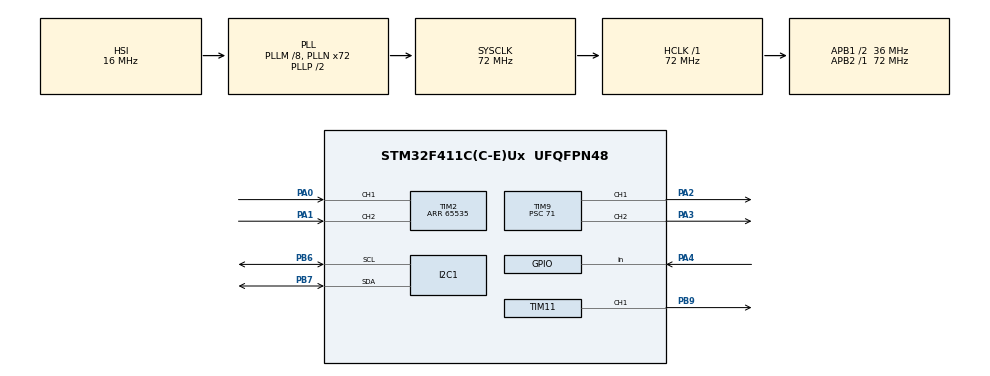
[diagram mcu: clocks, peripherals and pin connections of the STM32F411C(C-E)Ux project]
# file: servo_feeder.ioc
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I2C1.I2C_Mode=I2C_Fast
IWDG.Prescaler=IWDG_PRESCALER_32
Mcu.Family=STM32F4
Mcu.Name=STM32F411C(C-E)Ux
Mcu.Package=UFQFPN48
NVIC.PriorityGroup=NVIC_PRIORITYGROUP_4
PA0-WKUP.GPIO_PuPd=GPIO_PULLUP
PA0-WKUP.Signal=S_TIM2_CH1_ETR
PA1.GPIO_PuPd=GPIO_PULLUP
PA1.Signal=S_TIM2_CH2
PA13.Mode=Serial_Wire
PA13.Signal=SYS_JTMS-SWDIO
PA14.Mode=Serial_Wire
PA14.Signal=SYS_JTCK-SWCLK
PA2.Signal=S_TIM9_CH1
PA3.Signal=S_TIM9_CH2
PA4.Signal=GPIO_Input
PB6.Mode=I2C
PB6.Signal=I2C1_SCL
PB7.Mode=I2C
PB7.Signal=I2C1_SDA
PB9.Signal=S_TIM11_CH1
PC14-OSC32_IN.Mode=LSE-External-Oscillator
PC14-OSC32_IN.Signal=RCC_OSC32_IN
PC15-OSC32_OUT.Mode=LSE-External-Oscillator
PC15-OSC32_OUT.Signal=RCC_OSC32_OUT
PH0\ -\ OSC_IN.Mode=HSE-External-Oscillator
PH0\ -\ OSC_IN.Signal=RCC_OSC_IN
PH1\ -\ OSC_OUT.Mode=HSE-External-Oscillator
PH1\ -\ OSC_OUT.Signal=RCC_OSC_OUT
ProjectManager.HeapSize=0x200
ProjectManager.StackSize=0x400
ProjectManager.TargetToolchain=STM32CubeIDE
RCC.48MHZClocksFreq_Value=36000000
RCC.AHBFreq_Value=72000000
RCC.APB1CLKDivider=RCC_HCLK_DIV2
RCC.APB1Freq_Value=36000000
RCC.APB1TimFreq_Value=72000000
RCC.APB2Freq_Value=72000000
RCC.APB2TimFreq_Value=72000000
RCC.CortexFreq_Value=72000000
RCC.HCLKFreq_Value=72000000
RCC.HSE_VALUE=25000000
RCC.HSI_VALUE=16000000
RCC.PLLM=8
RCC.PLLN=72
RCC.RCC_RTC_Clock_Source=RCC_RTCCLKSOURCE_LSE
RCC.RCC_RTC_Clock_SourceVirtual=RCC_RTCCLKSOURCE_LSE
RCC.SYSCLKFreq_VALUE=72000000
RCC.SYSCLKSource=RCC_SYSCLKSOURCE_PLLCLK
RCC.VCOOutputFreq_Value=144000000
RTC.Date=1
SH.S_TIM11_CH1.0=TIM11_CH1,PWM Generation1 CH1
SH.S_TIM2_CH1_ETR.0=TIM2_CH1,Encoder_Interface
SH.S_TIM2_CH2.0=TIM2_CH2,Encoder_Interface
SH.S_TIM9_CH1.0=TIM9_CH1,PWM Generation1 CH1
SH.S_TIM9_CH2.0=TIM9_CH2,PWM Generation2 CH2
TIM11.Channel=TIM_CHANNEL_1
TIM11.Period=19999
TIM11.Prescaler=71
TIM2.ClockDivision=TIM_CLOCKDIVISION_DIV1
TIM2.Period=65535
TIM9.Channel-PWM\ Generation1\ CH1=TIM_CHANNEL_1
TIM9.Channel-PWM\ Generation2\ CH2=TIM_CHANNEL_2
TIM9.Period=19999
TIM9.Prescaler=71
VP_IWDG_VS_IWDG.Mode=IWDG_Activate
VP_RTC_VS_RTC_Activate.Mode=RTC_Enabled
VP_RTC_VS_RTC_Calendar.Mode=RTC_Calendar
VP_TIM11_VS_ClockSourceINT.Mode=Enable_Timer
board=custom

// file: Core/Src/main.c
/* USER CODE BEGIN Header */
/**
  ******************************************************************************
  * @file           : main.c
  * @brief          : Main program body
  ******************************************************************************
  * @attention
  *
  * Copyright (c) 2025 STMicroelectronics.
  * All rights reserved.
  *
  * This software is licensed under terms that can be found in the LICENSE file
  * in the root directory of this software component.
  * If no LICENSE file comes with this software, it is provided AS-IS.
  *
  ******************************************************************************
  */
/* USER CODE END Header */
#include "main.h"

/* USER CODE BEGIN Includes */
#include "stdio.h"
#include "ssd1306.h"
#include "ssd1306_tests.h"
#include "ssd1306_fonts.h"
#include "string.h"
/* USER CODE END Includes */

I2C_HandleTypeDef hi2c1;

IWDG_HandleTypeDef hiwdg;

RTC_HandleTypeDef hrtc;

TIM_HandleTypeDef htim2;
TIM_HandleTypeDef htim9;
TIM_HandleTypeDef htim11;

/* USER CODE BEGIN PV */
char timeData[15];
char dateData[15];
char feedTime[15];

typedef enum {
    STATE_IDLE,
    STATE_FEEDING,
    STATE_PAUSE
} feeding_state_t;

feeding_state_t feeding_state = STATE_IDLE;
uint32_t feeding_start_time = 0;
uint8_t feeding_step = 0;
uint8_t current_servo_id = 0;

uint16_t encval = 0;
int16_t enc_total = 0;
int16_t enc_last = 0;
int16_t diff;
int16_t curr_counter;
int16_t prevCounter = 0;
uint8_t hours, minutes;
uint8_t frame = 0;

/* USER CODE END PV */

void SystemClock_Config(void);
static void MX_GPIO_Init(void);
static void MX_TIM11_Init(void);
static void MX_I2C1_Init(void);
static void MX_RTC_Init(void);
static void MX_TIM2_Init(void);
static void MX_IWDG_Init(void);
static void MX_TIM9_Init(void);
/* USER CODE BEGIN PFP */
uint8_t get_current_servo_id(void);
void set_servo_angle(uint8_t servo_id, uint16_t angle);
void set_time (uint8_t hr, uint8_t min, uint8_t sec);
void set_date (uint8_t year, uint8_t month, uint8_t date, uint8_t day);
void set_alarm (uint8_t hr, uint8_t min, uint8_t sec, uint8_t date);
void get_time_date(char *time, char *date);
void HAL_RTC_AlarmAEventCallback(RTC_HandleTypeDef *hrtc);
void get_enc(char *feedTime, uint8_t hours, uint8_t minutes);
void get_hours(char *lastNum, uint8_t *currNum);
void get_minutes(char *lastNum, uint8_t *currNum);
void ssd1306_TestDrawBitmap(uint8_t frame);
void ssd1306_DrawLoading(void);
//void encoder_to_time(uint16_t encval, uint16_t hours, uint16_t minutes);
/* USER CODE END PFP */

int main(void)
{

  /* MCU Configuration--------------------------------------------------------*/

  /* Reset of all peripherals, Initializes the Flash interface and the Systick. */
  HAL_Init();

  /* Configure the system clock */
  SystemClock_Config();

  /* Initialize all configured peripherals */
  MX_GPIO_Init();
  MX_TIM11_Init();
  MX_I2C1_Init();
  MX_RTC_Init();
  MX_TIM2_Init();
  MX_IWDG_Init();
  MX_TIM9_Init();
  /* USER CODE BEGIN 2 */
  // �?нициализация дисплея
  ssd1306_Init();
  ssd1306_Fill(Black);

  // �?нициализация Ш�?М, энкодера
  HAL_TIM_PWM_Start_IT(&htim11, TIM_CHANNEL_1);
  HAL_TIM_PWM_Start_IT(&htim9, TIM_CHANNEL_1);
  HAL_TIM_PWM_Start_IT(&htim9, TIM_CHANNEL_2);

  __HAL_TIM_SET_COUNTER(&htim2, 0);
  HAL_TIM_Encoder_Start(&htim2, TIM_CHANNEL_ALL);

  // �?нициализация времени и даты
  get_time_date(timeData, dateData);

  // Настройка времени
  RTC_TimeTypeDef gTime;
  HAL_RTC_GetTime(&hrtc, &gTime, RTC_FORMAT_BIN);
  uint8_t currNum;
  char hoursT[15];
  char minutesT[15];
  uint8_t hoursTime;
  uint8_t minutesTime;

  uint32_t timeout_start = HAL_GetTick();
  ssd1306_Fill(Black);
  ssd1306_UpdateScreen();

  while (HAL_GPIO_ReadPin(GPIOA, GPIO_PIN_4) == GPIO_PIN_SET) {
	  HAL_IWDG_Refresh(&hiwdg);

	  if (HAL_GetTick() - timeout_start > 30000) {
		  hoursTime = 0;  // Автоматически выставляем 0 часов
		  break;
	  }

	  get_hours(hoursT, &currNum);

	  ssd1306_Fill(Black);
	  ssd1306_SetCursor(2, 0);
	  ssd1306_WriteString("Set hours:", Font_7x10, White);
	  ssd1306_SetCursor(2, 15);
	  ssd1306_WriteString(hoursT, Font_16x26, White);
	  ssd1306_UpdateScreen();

	  hoursTime = currNum;
	  HAL_Delay(10);
  }

  HAL_Delay(500);
  enc_total = 0;
  enc_last = __HAL_TIM_GET_COUNTER(&htim2);
  timeout_start = HAL_GetTick();

  while (HAL_GPIO_ReadPin(GPIOA, GPIO_PIN_4) == GPIO_PIN_SET) {
	  HAL_IWDG_Refresh(&hiwdg);

	  if (HAL_GetTick() - timeout_start > 30000) {
		  hoursTime = 0;  // Автоматически выставляем 0 часов
		  break;
	  }

	  get_minutes(minutesT, &currNum);

	  ssd1306_Fill(Black);
	  ssd1306_SetCursor(2, 0);
	  ssd1306_WriteString("Set minutes:", Font_7x10, White);
	  ssd1306_SetCursor(2, 15);
	  ssd1306_WriteString(minutesT, Font_16x26, White);
	  ssd1306_UpdateScreen();

	  minutesTime = currNum;
	  HAL_Delay(10);
  }
/*
  while (HAL_GPIO_ReadPin(GPIOA, GPIO_PIN_2) == GPIO_PIN_SET) {
 	  get_hours(lastNum, currNum);
 	  ssd1306_SetCursor(2, 0);
 	  ssd1306_WriteString(lastNum, Font_16x26, White);
 	  ssd1306_UpdateScreen();
   }
*/
  ssd1306_DrawLoading();

  set_time(hoursTime, minutesTime, 0);

  enc_total = 0;
  /* USER CODE END 2 */

  /* Infinite loop */
  /* USER CODE BEGIN WHILE */
  while (1)
  {
	  HAL_IWDG_Refresh(&hiwdg);

	  get_time_date(timeData, dateData);
	  get_enc(feedTime, hours, minutes);

	  if (feeding_state != STATE_PAUSE) {
		  ssd1306_Fill(Black);
		  ssd1306_SetCursor(2, 0);
		  ssd1306_WriteString("Feeding time", Font_7x10, White);
		  ssd1306_SetCursor(2, 10);
		  ssd1306_WriteString(feedTime, Font_11x18, White);
		  ssd1306_SetCursor(2, 32);
		  ssd1306_WriteString("Current time", Font_7x10, White);
		  ssd1306_SetCursor(2, 42);
		  ssd1306_WriteString(timeData, Font_11x18, White);
		  ssd1306_UpdateScreen();
		  HAL_Delay(10);
	  } else {
		  ssd1306_TestDrawBitmap(frame);
		  frame++;
		  frame = (frame > 5) ? 0 : frame;
	  }

	  switch (feeding_state) {
	          case STATE_IDLE:
	              if (!strcmp(feedTime, timeData)) {
	                  feeding_state = STATE_FEEDING;
	                  feeding_step = 0;
	                  feeding_start_time = HAL_GetTick();
	                  current_servo_id = get_current_servo_id();
	                  set_servo_angle(current_servo_id, 0);
	              }
	              break;

	          case STATE_FEEDING:
	              if (HAL_GetTick() - feeding_start_time >= 0) {
	            	  set_servo_angle(current_servo_id, 180);
	                  feeding_state = STATE_PAUSE;
	                  feeding_start_time = HAL_GetTick();
	                  feeding_step = 1;
	              }
	              break;

	          case STATE_PAUSE:

				  static const uint32_t pause_durations[] = {1000, 100, 100, 100, 100, 100, 5000};
				  static const uint16_t servo_angles[] = {165, 180, 165, 180, 165, 180, 0};

				  if (feeding_step >= 1 && feeding_step <= 7) {
					  if (HAL_GetTick() - feeding_start_time >= pause_durations[feeding_step - 1]) {
						  set_servo_angle(current_servo_id, servo_angles[feeding_step - 1]);
						  feeding_start_time = HAL_GetTick();
						  feeding_step++;

						  if (feeding_step > 7) {
							  feeding_state = STATE_IDLE;
							  set_servo_angle(current_servo_id, 0);  // Возврат в исходное положение
						  }
					  }
				  }
				  break;
	  	  }

	  	  HAL_Delay(10);  // Короткая задержка для стабильности

	  //ssd1306_TestAll();

	  /*
	  set_servo_angle(0);
	  HAL_Delay(50000);
	  set_servo_angle(180);
	  HAL_Delay(1000);
	  set_servo_angle(165);
	  HAL_Delay(100);
	  set_servo_angle(180);
	  HAL_Delay(100);
	  set_servo_angle(165);
	  HAL_Delay(100);
	  set_servo_angle(180);
	  HAL_Delay(100);
	  set_servo_angle(165);
	  HAL_Delay(100);
	  set_servo_angle(180);
	  HAL_Delay(5000);
	  */
    /* USER CODE END WHILE */

  }
}

void SystemClock_Config(void)
{
  RCC_OscInitTypeDef RCC_OscInitStruct = {0};
  RCC_ClkInitTypeDef RCC_ClkInitStruct = {0};

  /** Configure the main internal regulator output voltage
  */
  __HAL_RCC_PWR_CLK_ENABLE();
  __HAL_PWR_VOLTAGESCALING_CONFIG(PWR_REGULATOR_VOLTAGE_SCALE1);

  /** Initializes the RCC Oscillators according to the specified parameters
  * in the RCC_OscInitTypeDef structure.
  */
  RCC_OscInitStruct.OscillatorType = RCC_OSCILLATORTYPE_HSI|RCC_OSCILLATORTYPE_LSI
                              |RCC_OSCILLATORTYPE_LSE;
  RCC_OscInitStruct.LSEState = RCC_LSE_ON;
  RCC_OscInitStruct.HSIState = RCC_HSI_ON;
  RCC_OscInitStruct.HSICalibrationValue = RCC_HSICALIBRATION_DEFAULT;
  RCC_OscInitStruct.LSIState = RCC_LSI_ON;
  RCC_OscInitStruct.PLL.PLLState = RCC_PLL_ON;
  RCC_OscInitStruct.PLL.PLLSource = RCC_PLLSOURCE_HSI;
  RCC_OscInitStruct.PLL.PLLM = 8;
  RCC_OscInitStruct.PLL.PLLN = 72;
  RCC_OscInitStruct.PLL.PLLP = RCC_PLLP_DIV2;
  RCC_OscInitStruct.PLL.PLLQ = 4;
  if (HAL_RCC_OscConfig(&RCC_OscInitStruct) != HAL_OK)
  {
    Error_Handler();
  }

  /** Initializes the CPU, AHB and APB buses clocks
  */
  RCC_ClkInitStruct.ClockType = RCC_CLOCKTYPE_HCLK|RCC_CLOCKTYPE_SYSCLK
                              |RCC_CLOCKTYPE_PCLK1|RCC_CLOCKTYPE_PCLK2;
  RCC_ClkInitStruct.SYSCLKSource = RCC_SYSCLKSOURCE_PLLCLK;
  RCC_ClkInitStruct.AHBCLKDivider = RCC_SYSCLK_DIV1;
  RCC_ClkInitStruct.APB1CLKDivider = RCC_HCLK_DIV2;
  RCC_ClkInitStruct.APB2CLKDivider = RCC_HCLK_DIV1;

  if (HAL_RCC_ClockConfig(&RCC_ClkInitStruct, FLASH_LATENCY_2) != HAL_OK)
  {
    Error_Handler();
  }
}

static void MX_I2C1_Init(void)
{

  hi2c1.Instance = I2C1;
  hi2c1.Init.ClockSpeed = 400000;
  hi2c1.Init.DutyCycle = I2C_DUTYCYCLE_2;
  hi2c1.Init.OwnAddress1 = 0;
  hi2c1.Init.AddressingMode = I2C_ADDRESSINGMODE_7BIT;
  hi2c1.Init.DualAddressMode = I2C_DUALADDRESS_DISABLE;
  hi2c1.Init.OwnAddress2 = 0;
  hi2c1.Init.GeneralCallMode = I2C_GENERALCALL_DISABLE;
  hi2c1.Init.NoStretchMode = I2C_NOSTRETCH_DISABLE;
  if (HAL_I2C_Init(&hi2c1) != HAL_OK)
  {
    Error_Handler();
  }

}

static void MX_IWDG_Init(void)
{

  hiwdg.Instance = IWDG;
  hiwdg.Init.Prescaler = IWDG_PRESCALER_32;
  hiwdg.Init.Reload = 4095;
  if (HAL_IWDG_Init(&hiwdg) != HAL_OK)
  {
    Error_Handler();
  }

}

static void MX_RTC_Init(void)
{

  RTC_TimeTypeDef sTime = {0};
  RTC_DateTypeDef sDate = {0};

  /** Initialize RTC Only
  */
  hrtc.Instance = RTC;
  hrtc.Init.HourFormat = RTC_HOURFORMAT_24;
  hrtc.Init.AsynchPrediv = 127;
  hrtc.Init.SynchPrediv = 255;
  hrtc.Init.OutPut = RTC_OUTPUT_DISABLE;
  hrtc.Init.OutPutPolarity = RTC_OUTPUT_POLARITY_HIGH;
  hrtc.Init.OutPutType = RTC_OUTPUT_TYPE_OPENDRAIN;
  if (HAL_RTC_Init(&hrtc) != HAL_OK)
  {
    Error_Handler();
  }

  /** Initialize RTC and set the Time and Date
  */
  sTime.Hours = 0x0;
  sTime.Minutes = 0x0;
  sTime.Seconds = 0x0;
  sTime.DayLightSaving = RTC_DAYLIGHTSAVING_NONE;
  sTime.StoreOperation = RTC_STOREOPERATION_RESET;
  if (HAL_RTC_SetTime(&hrtc, &sTime, RTC_FORMAT_BCD) != HAL_OK)
  {
    Error_Handler();
  }
  sDate.WeekDay = RTC_WEEKDAY_MONDAY;
  sDate.Month = RTC_MONTH_JANUARY;
  sDate.Date = 0x1;
  sDate.Year = 0x0;

  if (HAL_RTC_SetDate(&hrtc, &sDate, RTC_FORMAT_BCD) != HAL_OK)
  {
    Error_Handler();
  }

}

static void MX_TIM2_Init(void)
{

  TIM_Encoder_InitTypeDef sConfig = {0};
  TIM_MasterConfigTypeDef sMasterConfig = {0};

  htim2.Instance = TIM2;
  htim2.Init.Prescaler = 0;
  htim2.Init.CounterMode = TIM_COUNTERMODE_UP;
  htim2.Init.Period = 65535;
  htim2.Init.ClockDivision = TIM_CLOCKDIVISION_DIV1;
  htim2.Init.AutoReloadPreload = TIM_AUTORELOAD_PRELOAD_DISABLE;
  sConfig.EncoderMode = TIM_ENCODERMODE_TI1;
  sConfig.IC1Polarity = TIM_ICPOLARITY_RISING;
  sConfig.IC1Selection = TIM_ICSELECTION_DIRECTTI;
  sConfig.IC1Prescaler = TIM_ICPSC_DIV1;
  sConfig.IC1Filter = 0;
  sConfig.IC2Polarity = TIM_ICPOLARITY_RISING;
  sConfig.IC2Selection = TIM_ICSELECTION_DIRECTTI;
  sConfig.IC2Prescaler = TIM_ICPSC_DIV1;
  sConfig.IC2Filter = 0;
  if (HAL_TIM_Encoder_Init(&htim2, &sConfig) != HAL_OK)
  {
    Error_Handler();
  }
  sMasterConfig.MasterOutputTrigger = TIM_TRGO_RESET;
  sMasterConfig.MasterSlaveMode = TIM_MASTERSLAVEMODE_DISABLE;
  if (HAL_TIMEx_MasterConfigSynchronization(&htim2, &sMasterConfig) != HAL_OK)
  {
    Error_Handler();
  }

}

static void MX_TIM9_Init(void)
{

  TIM_OC_InitTypeDef sConfigOC = {0};

  htim9.Instance = TIM9;
  htim9.Init.Prescaler = 71;
  htim9.Init.CounterMode = TIM_COUNTERMODE_UP;
  htim9.Init.Period = 19999;
  htim9.Init.ClockDivision = TIM_CLOCKDIVISION_DIV1;
  htim9.Init.AutoReloadPreload = TIM_AUTORELOAD_PRELOAD_DISABLE;
  if (HAL_TIM_PWM_Init(&htim9) != HAL_OK)
  {
    Error_Handler();
  }
  sConfigOC.OCMode = TIM_OCMODE_PWM1;
  sConfigOC.Pulse = 0;
  sConfigOC.OCPolarity = TIM_OCPOLARITY_HIGH;
  sConfigOC.OCFastMode = TIM_OCFAST_DISABLE;
  if (HAL_TIM_PWM_ConfigChannel(&htim9, &sConfigOC, TIM_CHANNEL_1) != HAL_OK)
  {
    Error_Handler();
  }
  if (HAL_TIM_PWM_ConfigChannel(&htim9, &sConfigOC, TIM_CHANNEL_2) != HAL_OK)
  {
    Error_Handler();
  }
  HAL_TIM_MspPostInit(&htim9);

}

static void MX_TIM11_Init(void)
{

  TIM_OC_InitTypeDef sConfigOC = {0};

  htim11.Instance = TIM11;
  htim11.Init.Prescaler = 71;
  htim11.Init.CounterMode = TIM_COUNTERMODE_UP;
  htim11.Init.Period = 19999;
  htim11.Init.ClockDivision = TIM_CLOCKDIVISION_DIV1;
  htim11.Init.AutoReloadPreload = TIM_AUTORELOAD_PRELOAD_DISABLE;
  if (HAL_TIM_Base_Init(&htim11) != HAL_OK)
  {
    Error_Handler();
  }
  if (HAL_TIM_PWM_Init(&htim11) != HAL_OK)
  {
    Error_Handler();
  }
  sConfigOC.OCMode = TIM_OCMODE_PWM1;
  sConfigOC.Pulse = 0;
  sConfigOC.OCPolarity = TIM_OCPOLARITY_HIGH;
  sConfigOC.OCFastMode = TIM_OCFAST_DISABLE;
  if (HAL_TIM_PWM_ConfigChannel(&htim11, &sConfigOC, TIM_CHANNEL_1) != HAL_OK)
  {
    Error_Handler();
  }
  HAL_TIM_MspPostInit(&htim11);

}

static void MX_GPIO_Init(void)
{
  GPIO_InitTypeDef GPIO_InitStruct = {0};

  /* GPIO Ports Clock Enable */
  __HAL_RCC_GPIOC_CLK_ENABLE();
  __HAL_RCC_GPIOH_CLK_ENABLE();
  __HAL_RCC_GPIOA_CLK_ENABLE();
  __HAL_RCC_GPIOB_CLK_ENABLE();

  /*Configure GPIO pin : PA4 */
  GPIO_InitStruct.Pin = GPIO_PIN_4;
  GPIO_InitStruct.Mode = GPIO_MODE_INPUT;
  GPIO_InitStruct.Pull = GPIO_NOPULL;
  HAL_GPIO_Init(GPIOA, &GPIO_InitStruct);

}

/* USER CODE BEGIN 4 */
/*
void encoder_to_time(uint16_t encval, uint16_t hours, uint16_t minutes) {
    uint16_t total_minutes = encval * 5;
    hours = (total_minutes / 60) % 12;
    minutes = total_minutes % 60;
}
*/
void get_enc(char *feedTime, uint8_t hours, uint8_t minutes) {
    curr_counter = __HAL_TIM_GET_COUNTER(&htim2);

    // Вычисляем разницу с учетом переполнения
    diff = (int16_t)(curr_counter - enc_last);
    if (!(diff % 2)){
    	enc_total += diff/2;
      	if (enc_total > 95) {
      	    enc_total = 0;
      	} else if (enc_total < 0) {
      		enc_total = 95;
      	}

    	enc_last = curr_counter;
    }
    uint16_t total_minutes = enc_total * 15;
    hours = (total_minutes / 60) % 24;
    minutes = total_minutes % 60;
	sprintf((char*)feedTime, "%02d:%02d:00", hours, minutes);
}

void get_hours(char *lastNum, uint8_t *currNum) {
    curr_counter = __HAL_TIM_GET_COUNTER(&htim2);

    // Вычисляем разницу с учетом переполнения
    diff = (int16_t)(curr_counter - enc_last);
    if (!(diff % 2)){
    	enc_total += diff/2;
      	if (enc_total > 23) {
      	    enc_total = 0;
      	} else if (enc_total < 0) {
      		enc_total = 23;
      	}

    	enc_last = curr_counter;
    }
    *currNum = enc_total;
	sprintf((char*)lastNum, "%02d", *currNum);
}

void get_minutes(char *lastNum, uint8_t *currNum) {
    curr_counter = __HAL_TIM_GET_COUNTER(&htim2);

    // Вычисляем разницу с учетом переполнения
    diff = (int16_t)(curr_counter - enc_last);
    if (!(diff % 2)){
        enc_total += diff/2;
        if (enc_total > 59) {  // Ограничение 0-59 для минут
            enc_total = 0;
        } else if (enc_total < 0) {
            enc_total = 59;
        }

        enc_last = curr_counter;
    }

    *currNum = enc_total;  // Разыменовываем указатель
    sprintf((char*)lastNum, "%02d", *currNum);
}

void set_time (uint8_t hr, uint8_t min, uint8_t sec)
{
	RTC_TimeTypeDef sTime = {0};

	sTime.Hours = hr;
	sTime.Minutes = min;
	sTime.Seconds = sec;
	sTime.DayLightSaving = RTC_DAYLIGHTSAVING_NONE;
	sTime.StoreOperation = RTC_STOREOPERATION_RESET;
	if (HAL_RTC_SetTime(&hrtc, &sTime, RTC_FORMAT_BIN) != HAL_OK)
	{
		Error_Handler();
	}
}

void set_date (uint8_t year, uint8_t month, uint8_t date, uint8_t day)  // monday = 1
{

	RTC_DateTypeDef sDate = {0};
	sDate.WeekDay = day;
	sDate.Month = month;
	sDate.Date = date;
	sDate.Year = year;
	if (HAL_RTC_SetDate(&hrtc, &sDate, RTC_FORMAT_BIN) != HAL_OK)
	{
		Error_Handler();
	}

}

void set_alarm (uint8_t hr, uint8_t min, uint8_t sec, uint8_t date)
{
	RTC_AlarmTypeDef sAlarm = {0};
	sAlarm.AlarmTime.Hours = hr;
	sAlarm.AlarmTime.Minutes = min;
	sAlarm.AlarmTime.Seconds = sec;
	sAlarm.AlarmTime.SubSeconds = 0;
	sAlarm.AlarmTime.DayLightSaving = RTC_DAYLIGHTSAVING_NONE;
	sAlarm.AlarmTime.StoreOperation = RTC_STOREOPERATION_RESET;
	sAlarm.AlarmMask = RTC_ALARMMASK_NONE;
	sAlarm.AlarmSubSecondMask = RTC_ALARMSUBSECONDMASK_ALL;
	sAlarm.AlarmDateWeekDaySel = RTC_ALARMDATEWEEKDAYSEL_DATE;
	sAlarm.AlarmDateWeekDay = date;
	sAlarm.Alarm = RTC_ALARM_A;
	if (HAL_RTC_SetAlarm_IT(&hrtc, &sAlarm, RTC_FORMAT_BIN) != HAL_OK)
	{
		Error_Handler();
	}
}

void get_time_date(char *time, char *date)
{
  RTC_DateTypeDef gDate;
  RTC_TimeTypeDef gTime;

  /* Get the RTC current Time */
  HAL_RTC_GetTime(&hrtc, &gTime, RTC_FORMAT_BIN);
  /* Get the RTC current Date */
  HAL_RTC_GetDate(&hrtc, &gDate, RTC_FORMAT_BIN);

  /* Display time Format: hh:mm:ss */
  sprintf((char*)time,"%02d:%02d:%02d",gTime.Hours, gTime.Minutes, gTime.Seconds);

  /* Display date Format: dd-mm-yyyy */
  sprintf((char*)date,"%02d-%02d-%2d",gDate.Date, gDate.Month, 2000 + gDate.Year);
}

void HAL_RTC_AlarmAEventCallback(RTC_HandleTypeDef *hrtc)
{
	HAL_GPIO_WritePin(GPIOA, GPIO_PIN_5, 1);  // turn the LED ON
}

uint8_t get_current_servo_id(void) {
    RTC_DateTypeDef gDate;
    HAL_RTC_GetDate(&hrtc, &gDate, RTC_FORMAT_BIN);
    return gDate.Date % 3;  // 0, 1 или 2 в зависимости от даты
}

void set_servo_angle(uint8_t servo_id, uint16_t angle) {
    if(angle > 180) angle = 180;
    uint16_t pulse_width = 500 + (angle * 2000 / 180);

    switch(servo_id) {
		case 0:  // Первый сервопривод - TIM11 CH1
			__HAL_TIM_SET_COMPARE(&htim11, TIM_CHANNEL_1, pulse_width);
			break;
		case 1:  // Второй сервопривод - TIM9 CH1
			__HAL_TIM_SET_COMPARE(&htim9, TIM_CHANNEL_1, pulse_width);
			break;
		case 2:  // Третий сервопривод - TIM9 CH2
			__HAL_TIM_SET_COMPARE(&htim9, TIM_CHANNEL_2, pulse_width);
			break;
	}
}

/* USER CODE END 4 */

void Error_Handler(void)
{
  __disable_irq();
  while (1)
  {
  }
}
